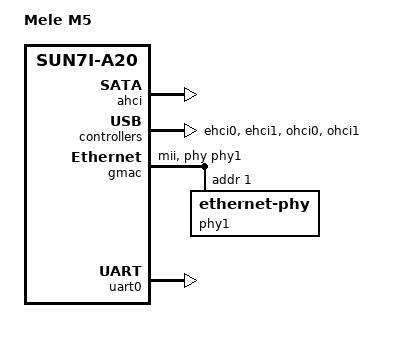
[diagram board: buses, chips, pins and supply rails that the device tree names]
// SPDX-License-Identifier: GPL-2.0+ OR X11
/*
 * Copyright 2015 Hans de Goede <hdegoede@redhat.com>
 *
 * Minimal dts file for the Mele M5 for u-boot only
 */

/dts-v1/;
#include "sun7i-a20.dtsi"

/ {
	model = "Mele M5";
	compatible = "mele,m5", "allwinner,sun7i-a20";

	aliases {
		serial0 = &uart0;
	};

	chosen {
		stdout-path = "serial0:115200n8";
	};
};

&ahci {
	status = "okay";
};

&ehci0 {
	status = "okay";
};

&ehci1 {
	status = "okay";
};

&gmac {
	pinctrl-names = "default";
	pinctrl-0 = <&gmac_rgmii_pins>;
	phy = <&phy1>;
	phy-mode = "mii";
	status = "okay";

	phy1: ethernet-phy@1 {
		reg = <1>;
	};
};

&ohci0 {
	status = "okay";
};

&ohci1 {
	status = "okay";
};

&uart0 {
	pinctrl-names = "default";
	pinctrl-0 = <&uart0_pb_pins>;
	status = "okay";
};
